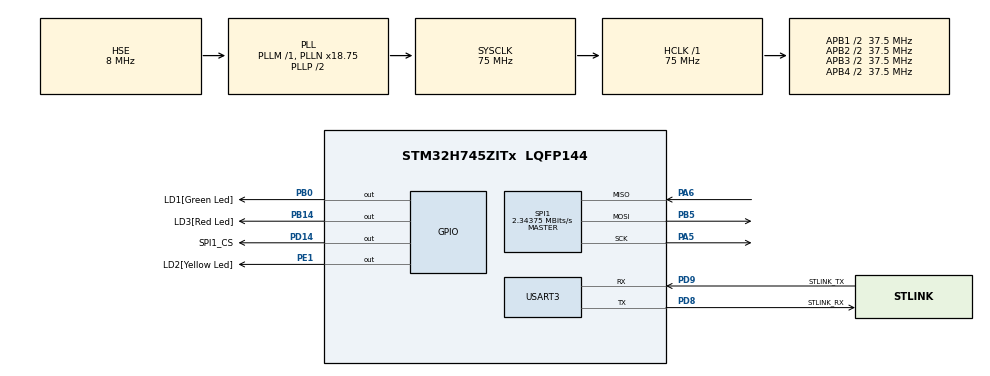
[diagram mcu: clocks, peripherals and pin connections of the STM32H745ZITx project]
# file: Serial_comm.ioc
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CORTEX_M7.default_mode_Activation=1
CortexM4.IPs=BDMA,CORTEX_M4\:I,DMA,FATFS_M4\:I,FREERTOS_M4\:I,GPIO,IWDG2\:I,MDMA,NVIC2\:I,OPENAMP_M4\:I,PDM2PCM_M4\:I,PWR,RCC,RESMGR_UTILITY,SYS_M4\:I,USB_DEVICE_M4\:I,USB_HOST_M4\:I,VREFBUF,WWDG2\:I
CortexM7.IPs=BDMA\:I,CORTEX_M7\:I,DMA\:I,FATFS_M7\:I,FREERTOS_M7\:I,GPIO\:I,IWDG1\:I,MDMA\:I,NVIC1\:I,OPENAMP_M7\:I,PDM2PCM_M7\:I,PWR\:I,RCC\:I,RESMGR_UTILITY\:I,SYS\:I,USB_DEVICE_M7\:I,USB_HOST_M7\:I,VREFBUF\:I,WWDG1\:I,USART3\:I,SPI1\:I
CortexM7.Pins=PB0,PB14,PD14,PE1
Dma.Request0=USART3_RX
Dma.Request1=USART3_TX
Dma.Request2=SPI1_TX
Dma.SPI1_TX.2.Direction=DMA_MEMORY_TO_PERIPH
Dma.SPI1_TX.2.EventEnable=DISABLE
Dma.SPI1_TX.2.FIFOMode=DMA_FIFOMODE_DISABLE
Dma.SPI1_TX.2.Instance=DMA1_Stream2
Dma.SPI1_TX.2.MemDataAlignment=DMA_MDATAALIGN_BYTE
Dma.SPI1_TX.2.MemInc=DMA_MINC_ENABLE
Dma.SPI1_TX.2.Mode=DMA_NORMAL
Dma.SPI1_TX.2.PeriphDataAlignment=DMA_PDATAALIGN_BYTE
Dma.SPI1_TX.2.PeriphInc=DMA_PINC_DISABLE
Dma.SPI1_TX.2.Polarity=HAL_DMAMUX_REQ_GEN_RISING
Dma.SPI1_TX.2.Priority=DMA_PRIORITY_LOW
Dma.SPI1_TX.2.RequestNumber=1
Dma.SPI1_TX.2.SignalID=NONE
Dma.SPI1_TX.2.SyncEnable=DISABLE
Dma.SPI1_TX.2.SyncPolarity=HAL_DMAMUX_SYNC_NO_EVENT
Dma.SPI1_TX.2.SyncRequestNumber=1
Dma.SPI1_TX.2.SyncSignalID=NONE
Dma.USART3_RX.0.Direction=DMA_PERIPH_TO_MEMORY
Dma.USART3_RX.0.EventEnable=DISABLE
Dma.USART3_RX.0.FIFOMode=DMA_FIFOMODE_DISABLE
Dma.USART3_RX.0.Instance=DMA1_Stream0
Dma.USART3_RX.0.MemDataAlignment=DMA_MDATAALIGN_BYTE
Dma.USART3_RX.0.MemInc=DMA_MINC_ENABLE
Dma.USART3_RX.0.Mode=DMA_CIRCULAR
Dma.USART3_RX.0.PeriphDataAlignment=DMA_PDATAALIGN_BYTE
Dma.USART3_RX.0.PeriphInc=DMA_PINC_DISABLE
Dma.USART3_RX.0.Polarity=HAL_DMAMUX_REQ_GEN_RISING
Dma.USART3_RX.0.Priority=DMA_PRIORITY_LOW
Dma.USART3_RX.0.RequestNumber=1
Dma.USART3_RX.0.SignalID=NONE
Dma.USART3_RX.0.SyncEnable=DISABLE
Dma.USART3_RX.0.SyncPolarity=HAL_DMAMUX_SYNC_NO_EVENT
Dma.USART3_RX.0.SyncRequestNumber=1
Dma.USART3_RX.0.SyncSignalID=NONE
Dma.USART3_TX.1.Direction=DMA_MEMORY_TO_PERIPH
Dma.USART3_TX.1.EventEnable=DISABLE
Dma.USART3_TX.1.FIFOMode=DMA_FIFOMODE_DISABLE
Dma.USART3_TX.1.Instance=DMA1_Stream1
Dma.USART3_TX.1.MemDataAlignment=DMA_MDATAALIGN_BYTE
Dma.USART3_TX.1.MemInc=DMA_MINC_ENABLE
Dma.USART3_TX.1.Mode=DMA_NORMAL
Dma.USART3_TX.1.PeriphDataAlignment=DMA_PDATAALIGN_BYTE
Dma.USART3_TX.1.PeriphInc=DMA_PINC_DISABLE
Dma.USART3_TX.1.Polarity=HAL_DMAMUX_REQ_GEN_RISING
Dma.USART3_TX.1.Priority=DMA_PRIORITY_LOW
Dma.USART3_TX.1.RequestNumber=1
Dma.USART3_TX.1.SignalID=NONE
Dma.USART3_TX.1.SyncEnable=DISABLE
Dma.USART3_TX.1.SyncPolarity=HAL_DMAMUX_SYNC_NO_EVENT
Dma.USART3_TX.1.SyncRequestNumber=1
Dma.USART3_TX.1.SyncSignalID=NONE
Mcu.Family=STM32H7
Mcu.Name=STM32H745ZITx
Mcu.Package=LQFP144
NVIC1.DMA1_Stream0_IRQn=true\:0\:0\:false\:false\:true\:false\:true\:true
NVIC1.DMA1_Stream1_IRQn=true\:0\:0\:false\:false\:true\:false\:true\:true
NVIC1.DMA1_Stream2_IRQn=true\:0\:0\:false\:false\:true\:false\:true\:true
NVIC1.PriorityGroup=NVIC_PRIORITYGROUP_4
NVIC1.SPI1_IRQn=true\:0\:0\:false\:false\:true\:true\:true\:true
NVIC1.USART3_IRQn=true\:0\:0\:false\:false\:true\:true\:true\:true
NVIC2.PriorityGroup=NVIC_PRIORITYGROUP_4
PA5.Mode=Full_Duplex_Master
PA5.PinAttribute=CortexM7
PA5.Signal=SPI1_SCK
PA6.Mode=Full_Duplex_Master
PA6.PinAttribute=CortexM7
PA6.Signal=SPI1_MISO
PB0.GPIO_Label=LD1[Green Led]
PB0.PinAttribute=CortexM7
PB0.Signal=GPIO_Output
PB14.GPIO_Label=LD3[Red Led]
PB14.PinAttribute=CortexM7
PB14.Signal=GPIO_Output
PB5.Mode=Full_Duplex_Master
PB5.PinAttribute=CortexM7
PB5.Signal=SPI1_MOSI
PC14-OSC32_IN\ (OSC32_IN).Mode=LSE-External-Oscillator
PC14-OSC32_IN\ (OSC32_IN).PinAttribute=Free
PC14-OSC32_IN\ (OSC32_IN).Signal=RCC_OSC32_IN
PC15-OSC32_OUT\ (OSC32_OUT).Mode=LSE-External-Oscillator
PC15-OSC32_OUT\ (OSC32_OUT).PinAttribute=Free
PC15-OSC32_OUT\ (OSC32_OUT).Signal=RCC_OSC32_OUT
PD14.GPIO_Label=SPI1_CS
PD14.PinAttribute=CortexM7
PD14.Signal=GPIO_Output
PD8.GPIO_Label=STLINK_RX
PD8.Mode=Asynchronous
PD8.PinAttribute=CortexM7
PD8.Signal=USART3_TX
PD9.GPIO_Label=STLINK_TX
PD9.Mode=Asynchronous
PD9.PinAttribute=CortexM7
PD9.Signal=USART3_RX
PE1.GPIO_Label=LD2[Yellow Led]
PE1.PinAttribute=CortexM7
PE1.Signal=GPIO_Output
PH0-OSC_IN\ (PH0).Mode=HSE-External-Clock-Source
PH0-OSC_IN\ (PH0).PinAttribute=Free
PH0-OSC_IN\ (PH0).Signal=RCC_OSC_IN
ProjectManager.HeapSize=M4-0x200,M7-0x200
ProjectManager.StackSize=M4-0x400,M7-0x400
ProjectManager.TargetToolchain=STM32CubeIDE
RCC.ADCFreq_Value=16125000
RCC.APB1Freq_Value=37500000
RCC.APB2Freq_Value=37500000
RCC.APB3Freq_Value=37500000
RCC.APB4Freq_Value=37500000
RCC.CortexFreq_Value=75000000
RCC.D1PPRE=RCC_APB3_DIV2
RCC.D2PPRE1=RCC_APB1_DIV2
RCC.D2PPRE2=RCC_APB2_DIV2
RCC.D3PPRE=RCC_APB4_DIV2
RCC.DIVM1=1
RCC.DIVN1=18
RCC.HCLKFreq_Value=75000000
RCC.HSE_VALUE=8000000
RCC.PLL2FRACN=0
RCC.PLL3FRACN=0
RCC.PLLFRACN=6144
RCC.PLLSourceVirtual=RCC_PLLSOURCE_HSE
RCC.SYSCLKFreq_VALUE=75000000
RCC.SYSCLKSource=RCC_SYSCLKSOURCE_PLLCLK
RCC.USBFreq_Value=75000000
SPI1.BaudRatePrescaler=SPI_BAUDRATEPRESCALER_32
SPI1.CalculateBaudRate=2.34375 MBits/s
SPI1.DataSize=SPI_DATASIZE_8BIT
SPI1.Direction=SPI_DIRECTION_2LINES
SPI1.Mode=SPI_MODE_MASTER
SPI1.VirtualType=VM_MASTER
SYS.userName=SYS_M7
USART3.VirtualMode-Asynchronous=VM_ASYNC
VP_SYS_M4_VS_Systick.Mode=SysTick
board=custom

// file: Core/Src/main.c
/* USER CODE BEGIN Header */
/**
 ******************************************************************************
 * @file           : main.c
 * @brief          : Main program body
 ******************************************************************************
 * @attention
 *
 * Copyright (c) 2024 STMicroelectronics.
 * All rights reserved.
 *
 * This software is licensed under terms that can be found in the LICENSE file
 * in the root directory of this software component.
 * If no LICENSE file comes with this software, it is provided AS-IS.
 *
 ******************************************************************************
 */
/* USER CODE END Header */
#include "main.h"

/* USER CODE BEGIN Includes */
#include <stdio.h>
#include "uart.h"
#include "W25Q128.h"
/* USER CODE END Includes */

/* USER CODE BEGIN PD */

#ifndef HSEM_ID_0
#define HSEM_ID_0 (0U) /* HW semaphore 0*/
#endif

/* USER CODE END PD */

SPI_HandleTypeDef hspi1;
DMA_HandleTypeDef hdma_spi1_tx;

UART_HandleTypeDef huart3;
DMA_HandleTypeDef hdma_usart3_rx;
DMA_HandleTypeDef hdma_usart3_tx;

void SystemClock_Config(void);
static void MPU_Config(void);
static void MX_GPIO_Init(void);
static void MX_DMA_Init(void);
static void MX_USART3_UART_Init(void);
static void MX_SPI1_Init(void);
/* USER CODE BEGIN PFP */
int __io_putchar(uint8_t ch)
{
	HAL_UART_Transmit(&huart3, &ch, 1, HAL_MAX_DELAY);
	return 1;
}

float bitsPerSecond(uint32_t bytesRecv, uint32_t time)
{
	float speed = (float)(bytesRecv * 8.0f) / (time/1000.0f);
	return speed;
}
/* USER CODE END PFP */

/* USER CODE BEGIN 0 */
//const char *str = "Finance Minister Arun Jaitley Tuesday hit out at former RBI governor Raghuram Rajan for predicting that the next banking crisis would be triggered by MSME lending, saying postmortem is easier than taking action when it was required. Rajan, who had as the chief economist at IMF warned of impending financial crisis of 2008, in a note to a parliamentary committee warned against ambitious credit targets and loan waivers, saying that they could be the sources of next banking crisis. Government should focus on sources of the next crisis, not just the last one. In particular, government should refrain from setting ambitious credit targets or waiving loans. Credit targets are sometimes achieved by abandoning appropriate due diligence, creating the environment for future NPAs, Rajan said in the note. Both MUDRA loans as well as the Kisan Credit Card, while popular, have to be examined more closely for potential credit risk. Rajan, who was RBI governor for three years till September 2016, is currently.";

uint32_t data;
uint8_t finalBuf[1024];
uint32_t receive_count = 0;
volatile uint16_t finalBuf_Indx = 0;
int read_len = 0;
uint32_t flash_ID = 0;
uint8_t readFromFlash[1024];
uint32_t timer = 0;
volatile uint32_t bytesReceived = 0;
float bitPerSecond;

void HAL_UARTEx_RxEventCallback(UART_HandleTypeDef *huart, uint16_t Size)
{
	if(Size == RX_BUFFER_SIZE)
	{
		Serial->readBytes(finalBuf + finalBuf_Indx, Size);
		receive_count++;
		finalBuf_Indx  = RX_BUFFER_SIZE * receive_count;
	}
	else if(Size == RX_BUFFER_SIZE / 2)
	{
		return;
	}
	else
	{
		read_len = Serial->readBytes(finalBuf + finalBuf_Indx, Size);
		finalBuf_Indx += Size;
		bytesReceived += Size;
	}
}

/* USER CODE END 0 */

int main(void)
{

	/* USER CODE BEGIN Boot_Mode_Sequence_0 */
	int32_t timeout;
	/* USER CODE END Boot_Mode_Sequence_0 */

	/* MPU Configuration--------------------------------------------------------*/
	MPU_Config();

	/* USER CODE BEGIN Boot_Mode_Sequence_1 */
	/* Wait until CPU2 boots and enters in stop mode or timeout*/
	timeout = 0xFFFF;
	while((__HAL_RCC_GET_FLAG(RCC_FLAG_D2CKRDY) != RESET) && (timeout-- > 0));
	if ( timeout < 0 )
	{
		Error_Handler();
	}
	/* USER CODE END Boot_Mode_Sequence_1 */
	/* MCU Configuration--------------------------------------------------------*/

	/* Reset of all peripherals, Initializes the Flash interface and the Systick. */
	HAL_Init();

	/* Configure the system clock */
	SystemClock_Config();
	/* USER CODE BEGIN Boot_Mode_Sequence_2 */
	/* When system initialization is finished, Cortex-M7 will release Cortex-M4 by means of
HSEM notification */
	/*HW semaphore Clock enable*/
	__HAL_RCC_HSEM_CLK_ENABLE();
	/*Take HSEM */
	HAL_HSEM_FastTake(HSEM_ID_0);
	/*Release HSEM in order to notify the CPU2(CM4)*/
	HAL_HSEM_Release(HSEM_ID_0,0);
	/* wait until CPU2 wakes up from stop mode */
	timeout = 0xFFFF;
	while((__HAL_RCC_GET_FLAG(RCC_FLAG_D2CKRDY) == RESET) && (timeout-- > 0));
	if ( timeout < 0 )
	{
		Error_Handler();
	}
	/* USER CODE END Boot_Mode_Sequence_2 */

	/* Initialize all configured peripherals */
	MX_GPIO_Init();
	MX_DMA_Init();
	MX_USART3_UART_Init();
	MX_SPI1_Init();
	/* USER CODE BEGIN 2 */
	Serial->begin(&huart3, 2400);
	Flash->reset();
	flash_ID = Flash->getID();
	//	sprintf(txData, "Hello, I am Dwijendra Vats. I am Storing this string in the flash memory. This What I am learning right now\n", indx);
	//	W25Q_Write_Page(0, 0, strlen(txData),txData);
	//Flash->read(0, 0, 1024, readFromFlash);
	/* USER CODE END 2 */

	/* Infinite loop */
	/* USER CODE BEGIN WHILE */
	while (1)
	{
		if(finalBuf[finalBuf_Indx - 1] == '.')
		{
			receive_count = 0;
			bitPerSecond = bitsPerSecond(bytesReceived, timer);
			Serial->restart();
			Flash->writePage(0, 0, finalBuf_Indx, finalBuf);
			Flash->read(0, 0, finalBuf_Indx, readFromFlash);
			finalBuf_Indx = 0;
			memset(finalBuf, 0, 1024);
			//printf("%s\n", readFromFlash);
			printf("Speed of the Transmitted Data:-%.2f\n", bitPerSecond);
		}
		printf("%s\n", readFromFlash);

		//		Serial->print((char*)finalBuf, finalBuf_Indx);
				HAL_Delay(500);
		/* USER CODE END WHILE */

	}
}

void SystemClock_Config(void)
{
	RCC_OscInitTypeDef RCC_OscInitStruct = {0};
	RCC_ClkInitTypeDef RCC_ClkInitStruct = {0};

	/** Supply configuration update enable
	 */
	HAL_PWREx_ConfigSupply(PWR_DIRECT_SMPS_SUPPLY);

	/** Configure the main internal regulator output voltage
	 */
	__HAL_PWR_VOLTAGESCALING_CONFIG(PWR_REGULATOR_VOLTAGE_SCALE3);

	while(!__HAL_PWR_GET_FLAG(PWR_FLAG_VOSRDY)) {}

	/** Initializes the RCC Oscillators according to the specified parameters
	 * in the RCC_OscInitTypeDef structure.
	 */
	RCC_OscInitStruct.OscillatorType = RCC_OSCILLATORTYPE_HSE;
	RCC_OscInitStruct.HSEState = RCC_HSE_BYPASS;
	RCC_OscInitStruct.PLL.PLLState = RCC_PLL_ON;
	RCC_OscInitStruct.PLL.PLLSource = RCC_PLLSOURCE_HSE;
	RCC_OscInitStruct.PLL.PLLM = 1;
	RCC_OscInitStruct.PLL.PLLN = 18;
	RCC_OscInitStruct.PLL.PLLP = 2;
	RCC_OscInitStruct.PLL.PLLQ = 2;
	RCC_OscInitStruct.PLL.PLLR = 2;
	RCC_OscInitStruct.PLL.PLLRGE = RCC_PLL1VCIRANGE_3;
	RCC_OscInitStruct.PLL.PLLVCOSEL = RCC_PLL1VCOMEDIUM;
	RCC_OscInitStruct.PLL.PLLFRACN = 6144;
	if (HAL_RCC_OscConfig(&RCC_OscInitStruct) != HAL_OK)
	{
		Error_Handler();
	}

	/** Initializes the CPU, AHB and APB buses clocks
	 */
	RCC_ClkInitStruct.ClockType = RCC_CLOCKTYPE_HCLK|RCC_CLOCKTYPE_SYSCLK
			|RCC_CLOCKTYPE_PCLK1|RCC_CLOCKTYPE_PCLK2
			|RCC_CLOCKTYPE_D3PCLK1|RCC_CLOCKTYPE_D1PCLK1;
	RCC_ClkInitStruct.SYSCLKSource = RCC_SYSCLKSOURCE_PLLCLK;
	RCC_ClkInitStruct.SYSCLKDivider = RCC_SYSCLK_DIV1;
	RCC_ClkInitStruct.AHBCLKDivider = RCC_HCLK_DIV1;
	RCC_ClkInitStruct.APB3CLKDivider = RCC_APB3_DIV2;
	RCC_ClkInitStruct.APB1CLKDivider = RCC_APB1_DIV2;
	RCC_ClkInitStruct.APB2CLKDivider = RCC_APB2_DIV2;
	RCC_ClkInitStruct.APB4CLKDivider = RCC_APB4_DIV2;

	if (HAL_RCC_ClockConfig(&RCC_ClkInitStruct, FLASH_LATENCY_1) != HAL_OK)
	{
		Error_Handler();
	}
}

static void MX_SPI1_Init(void)
{

	/* SPI1 parameter configuration*/
	hspi1.Instance = SPI1;
	hspi1.Init.Mode = SPI_MODE_MASTER;
	hspi1.Init.Direction = SPI_DIRECTION_2LINES;
	hspi1.Init.DataSize = SPI_DATASIZE_8BIT;
	hspi1.Init.CLKPolarity = SPI_POLARITY_LOW;
	hspi1.Init.CLKPhase = SPI_PHASE_1EDGE;
	hspi1.Init.NSS = SPI_NSS_SOFT;
	hspi1.Init.BaudRatePrescaler = SPI_BAUDRATEPRESCALER_32;
	hspi1.Init.FirstBit = SPI_FIRSTBIT_MSB;
	hspi1.Init.TIMode = SPI_TIMODE_DISABLE;
	hspi1.Init.CRCCalculation = SPI_CRCCALCULATION_DISABLE;
	hspi1.Init.CRCPolynomial = 0x0;
	hspi1.Init.NSSPMode = SPI_NSS_PULSE_ENABLE;
	hspi1.Init.NSSPolarity = SPI_NSS_POLARITY_LOW;
	hspi1.Init.FifoThreshold = SPI_FIFO_THRESHOLD_01DATA;
	hspi1.Init.TxCRCInitializationPattern = SPI_CRC_INITIALIZATION_ALL_ZERO_PATTERN;
	hspi1.Init.RxCRCInitializationPattern = SPI_CRC_INITIALIZATION_ALL_ZERO_PATTERN;
	hspi1.Init.MasterSSIdleness = SPI_MASTER_SS_IDLENESS_00CYCLE;
	hspi1.Init.MasterInterDataIdleness = SPI_MASTER_INTERDATA_IDLENESS_00CYCLE;
	hspi1.Init.MasterReceiverAutoSusp = SPI_MASTER_RX_AUTOSUSP_DISABLE;
	hspi1.Init.MasterKeepIOState = SPI_MASTER_KEEP_IO_STATE_DISABLE;
	hspi1.Init.IOSwap = SPI_IO_SWAP_DISABLE;
	if (HAL_SPI_Init(&hspi1) != HAL_OK)
	{
		Error_Handler();
	}

}

static void MX_USART3_UART_Init(void)
{

	/* USER CODE BEGIN USART3_Init 0 */
	//
	/* USER CODE END USART3_Init 0 */

	/* USER CODE BEGIN USART3_Init 1 */
	//
	/* USER CODE END USART3_Init 1 */
	huart3.Instance = USART3;
	huart3.Init.BaudRate = 115200;
	huart3.Init.WordLength = UART_WORDLENGTH_8B;
	huart3.Init.StopBits = UART_STOPBITS_1;
	huart3.Init.Parity = UART_PARITY_NONE;
	huart3.Init.Mode = UART_MODE_TX_RX;
	huart3.Init.HwFlowCtl = UART_HWCONTROL_NONE;
	huart3.Init.OverSampling = UART_OVERSAMPLING_16;
	huart3.Init.OneBitSampling = UART_ONE_BIT_SAMPLE_DISABLE;
	huart3.Init.ClockPrescaler = UART_PRESCALER_DIV1;
	huart3.AdvancedInit.AdvFeatureInit = UART_ADVFEATURE_NO_INIT;
	if (HAL_UART_Init(&huart3) != HAL_OK)
	{
		Error_Handler();
	}
	if (HAL_UARTEx_SetTxFifoThreshold(&huart3, UART_TXFIFO_THRESHOLD_1_8) != HAL_OK)
	{
		Error_Handler();
	}
	if (HAL_UARTEx_SetRxFifoThreshold(&huart3, UART_RXFIFO_THRESHOLD_1_8) != HAL_OK)
	{
		Error_Handler();
	}
	if (HAL_UARTEx_DisableFifoMode(&huart3) != HAL_OK)
	{
		Error_Handler();
	}
	/* USER CODE BEGIN USART3_Init 2 */
	//
	/* USER CODE END USART3_Init 2 */

}

static void MX_DMA_Init(void)
{

	/* DMA controller clock enable */
	__HAL_RCC_DMA1_CLK_ENABLE();

	/* DMA interrupt init */
	/* DMA1_Stream0_IRQn interrupt configuration */
	HAL_NVIC_SetPriority(DMA1_Stream0_IRQn, 0, 0);
	HAL_NVIC_EnableIRQ(DMA1_Stream0_IRQn);
	/* DMA1_Stream1_IRQn interrupt configuration */
	HAL_NVIC_SetPriority(DMA1_Stream1_IRQn, 0, 0);
	HAL_NVIC_EnableIRQ(DMA1_Stream1_IRQn);
	/* DMA1_Stream2_IRQn interrupt configuration */
	HAL_NVIC_SetPriority(DMA1_Stream2_IRQn, 0, 0);
	HAL_NVIC_EnableIRQ(DMA1_Stream2_IRQn);

}

static void MX_GPIO_Init(void)
{
	GPIO_InitTypeDef GPIO_InitStruct = {0};

	/* GPIO Ports Clock Enable */
	__HAL_RCC_GPIOA_CLK_ENABLE();
	__HAL_RCC_GPIOB_CLK_ENABLE();
	__HAL_RCC_GPIOD_CLK_ENABLE();
	__HAL_RCC_GPIOE_CLK_ENABLE();

	/*Configure GPIO pin Output Level */
	HAL_GPIO_WritePin(GPIOB, LD1_Pin|LD3_Pin, GPIO_PIN_RESET);

	/*Configure GPIO pin Output Level */
	HAL_GPIO_WritePin(SPI1_CS_GPIO_Port, SPI1_CS_Pin, GPIO_PIN_RESET);

	/*Configure GPIO pin Output Level */
	HAL_GPIO_WritePin(LD2_GPIO_Port, LD2_Pin, GPIO_PIN_RESET);

	/*Configure GPIO pins : LD1_Pin LD3_Pin */
	GPIO_InitStruct.Pin = LD1_Pin|LD3_Pin;
	GPIO_InitStruct.Mode = GPIO_MODE_OUTPUT_PP;
	GPIO_InitStruct.Pull = GPIO_NOPULL;
	GPIO_InitStruct.Speed = GPIO_SPEED_FREQ_LOW;
	HAL_GPIO_Init(GPIOB, &GPIO_InitStruct);

	/*Configure GPIO pin : SPI1_CS_Pin */
	GPIO_InitStruct.Pin = SPI1_CS_Pin;
	GPIO_InitStruct.Mode = GPIO_MODE_OUTPUT_PP;
	GPIO_InitStruct.Pull = GPIO_NOPULL;
	GPIO_InitStruct.Speed = GPIO_SPEED_FREQ_LOW;
	HAL_GPIO_Init(SPI1_CS_GPIO_Port, &GPIO_InitStruct);

	/*Configure GPIO pin : LD2_Pin */
	GPIO_InitStruct.Pin = LD2_Pin;
	GPIO_InitStruct.Mode = GPIO_MODE_OUTPUT_PP;
	GPIO_InitStruct.Pull = GPIO_NOPULL;
	GPIO_InitStruct.Speed = GPIO_SPEED_FREQ_LOW;
	HAL_GPIO_Init(LD2_GPIO_Port, &GPIO_InitStruct);

}

/* MPU Configuration */

void MPU_Config(void)
{
	MPU_Region_InitTypeDef MPU_InitStruct = {0};

	/* Disables the MPU */
	HAL_MPU_Disable();

	/** Initializes and configures the Region and the memory to be protected
	 */
	MPU_InitStruct.Enable = MPU_REGION_ENABLE;
	MPU_InitStruct.Number = MPU_REGION_NUMBER0;
	MPU_InitStruct.BaseAddress = 0x0;
	MPU_InitStruct.Size = MPU_REGION_SIZE_4GB;
	MPU_InitStruct.SubRegionDisable = 0x87;
	MPU_InitStruct.TypeExtField = MPU_TEX_LEVEL0;
	MPU_InitStruct.AccessPermission = MPU_REGION_NO_ACCESS;
	MPU_InitStruct.DisableExec = MPU_INSTRUCTION_ACCESS_DISABLE;
	MPU_InitStruct.IsShareable = MPU_ACCESS_SHAREABLE;
	MPU_InitStruct.IsCacheable = MPU_ACCESS_NOT_CACHEABLE;
	MPU_InitStruct.IsBufferable = MPU_ACCESS_NOT_BUFFERABLE;

	HAL_MPU_ConfigRegion(&MPU_InitStruct);
	/* Enables the MPU */
	HAL_MPU_Enable(MPU_PRIVILEGED_DEFAULT);

}

void Error_Handler(void)
{
	__disable_irq();
	while (1)
	{
	}
}
